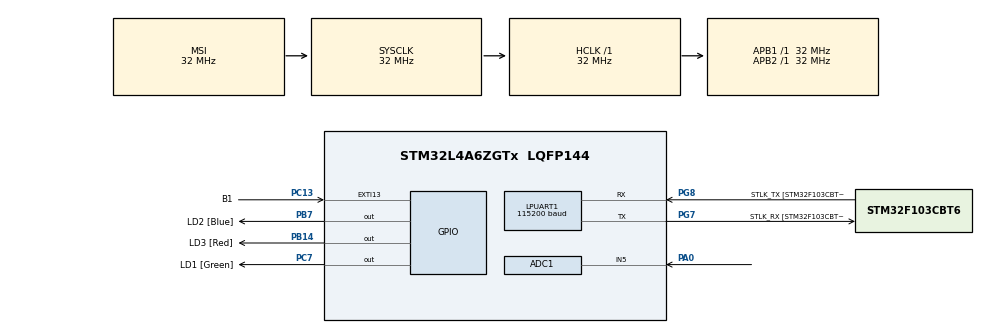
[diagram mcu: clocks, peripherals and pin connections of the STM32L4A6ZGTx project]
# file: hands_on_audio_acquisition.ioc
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ADC1.Channel-0\#ChannelRegularConversion=ADC_CHANNEL_5
ADC1.DMAContinuousRequests=ENABLE
ADC1.ExternalTrigConv=ADC_EXTERNALTRIG_T3_TRGO
ADC1.NbrOfConversion=1
ADC1.NbrOfConversionFlag=1
ADC1.OffsetNumber-0\#ChannelRegularConversion=ADC_OFFSET_NONE
ADC1.Rank-0\#ChannelRegularConversion=1
ADC1.SamplingTime-0\#ChannelRegularConversion=ADC_SAMPLETIME_2CYCLES_5
ADC1.master=1
Dma.ADC1.0.Direction=DMA_PERIPH_TO_MEMORY
Dma.ADC1.0.Instance=DMA1_Channel1
Dma.ADC1.0.MemDataAlignment=DMA_MDATAALIGN_HALFWORD
Dma.ADC1.0.MemInc=DMA_MINC_ENABLE
Dma.ADC1.0.Mode=DMA_CIRCULAR
Dma.ADC1.0.PeriphDataAlignment=DMA_PDATAALIGN_HALFWORD
Dma.ADC1.0.PeriphInc=DMA_PINC_DISABLE
Dma.ADC1.0.Priority=DMA_PRIORITY_LOW
Dma.Request0=ADC1
LPUART1.AutoBaudRateEnableParam=UART_ADVFEATURE_AUTOBAUDRATE_DISABLE
LPUART1.BaudRate=115200
LPUART1.DMADisableonRxErrorParam=UART_ADVFEATURE_DMA_ENABLEONRXERROR
LPUART1.DataInvertParam=UART_ADVFEATURE_DATAINV_DISABLE
LPUART1.MSBFirstParam=UART_ADVFEATURE_MSBFIRST_DISABLE
LPUART1.Mode=UART_MODE_TX_RX
LPUART1.OneBitSampling=UART_ONE_BIT_SAMPLE_DISABLE
LPUART1.OverrunDisableParam=UART_ADVFEATURE_OVERRUN_ENABLE
LPUART1.Parity=UART_PARITY_NONE
LPUART1.RxPinLevelInvertParam=UART_ADVFEATURE_RXINV_DISABLE
LPUART1.StopBits=UART_STOPBITS_1
LPUART1.SwapParam=UART_ADVFEATURE_SWAP_DISABLE
LPUART1.TxPinLevelInvertParam=UART_ADVFEATURE_TXINV_DISABLE
LPUART1.WordLength=UART_WORDLENGTH_8B
Mcu.Family=STM32L4
Mcu.Name=STM32L4A6ZGTx
Mcu.Package=LQFP144
NVIC.DMA1_Channel1_IRQn=true\:0\:0\:false\:false\:true\:false\:true\:true
NVIC.EXTI15_10_IRQn=true\:0\:0\:false\:false\:true\:true\:true\:true
NVIC.PriorityGroup=NVIC_PRIORITYGROUP_4
PA0.Signal=ADCx_IN5
PA13\ (JTMS/SWDIO).GPIO_Label=TMS
PA13\ (JTMS/SWDIO).Mode=Trace_Asynchronous_SW
PA13\ (JTMS/SWDIO).Signal=SYS_JTMS-SWDIO
PA14\ (JTCK/SWCLK).GPIO_Label=TCK
PA14\ (JTCK/SWCLK).Mode=Trace_Asynchronous_SW
PA14\ (JTCK/SWCLK).Signal=SYS_JTCK-SWCLK
PB14.GPIO_Label=LD3 [Red]
PB14.Signal=GPIO_Output
PB3\ (JTDO/TRACESWO).GPIO_Label=SWO
PB3\ (JTDO/TRACESWO).Mode=Trace_Asynchronous_SW
PB3\ (JTDO/TRACESWO).Signal=SYS_JTDO-SWO
PB7.GPIO_Label=LD2 [Blue]
PB7.Signal=GPIO_Output
PC13.GPIO_Label=B1
PC13.Signal=GPXTI13
PC14-OSC32_IN\ (PC14).Mode=LSE-External-Oscillator
PC14-OSC32_IN\ (PC14).Signal=RCC_OSC32_IN
PC15-OSC32_OUT\ (PC15).Mode=LSE-External-Oscillator
PC15-OSC32_OUT\ (PC15).Signal=RCC_OSC32_OUT
PC7.GPIO_Label=LD1 [Green]
PC7.Signal=GPIO_Output
PG7.GPIO_Label=STLK_RX [STM32F103CBT6_PA3]
PG7.Mode=Asynchronous
PG7.Signal=LPUART1_TX
PG8.GPIO_Label=STLK_TX [STM32F103CBT6_PA2]
PG8.Mode=Asynchronous
PG8.Signal=LPUART1_RX
PH1-OSC_OUT\ (PH1).Signal=RCC_OSC_OUT
ProjectManager.HeapSize=0x200
ProjectManager.StackSize=0x400
ProjectManager.TargetToolchain=STM32CubeIDE
RCC.ADCCLockSelection=RCC_ADCCLKSOURCE_SYSCLK
RCC.ADCFreq_Value=32000000
RCC.AHBFreq_Value=32000000
RCC.APB1Freq_Value=32000000
RCC.APB1TimFreq_Value=32000000
RCC.APB2Freq_Value=32000000
RCC.APB2TimFreq_Value=32000000
RCC.CortexFreq_Value=32000000
RCC.FLatency=FLASH_LATENCY_1
RCC.HCLKFreq_Value=32000000
RCC.HSE_VALUE=8000000
RCC.HSI48_VALUE=48000000
RCC.HSI_VALUE=16000000
RCC.MSIClockRange=RCC_MSIRANGE_10
RCC.MSI_VALUE=32000000
RCC.PLLN=71
RCC.PLLR=RCC_PLLR_DIV6
RCC.PLLSAI1N=24
RCC.SYSCLKFreq_VALUE=32000000
RCC.USBFreq_Value=384000000
RCC.VCOOutputFreq_Value=2272000000
SH.ADCx_IN5.0=ADC1_IN5,IN5-Single-Ended
TIM3.Period=195
TIM3.Prescaler=15
TIM3.TIM_MasterOutputTrigger=TIM_TRGO_UPDATE
VP_TIM3_VS_ClockSourceINT.Mode=Internal
board=NUCLEO-L4A6ZG

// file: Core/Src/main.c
/* USER CODE BEGIN Header */
/**
  ******************************************************************************
  * @file           : main.c
  * @brief          : Main program body
  ******************************************************************************
  * @attention
  *
  * <h2><center>&copy; Copyright (c) 2021 STMicroelectronics.
  * All rights reserved.</center></h2>
  *
  * This software component is licensed by ST under BSD 3-Clause license,
  * the "License"; You may not use this file except in compliance with the
  * License. You may obtain a copy of the License at:
  *                        opensource.org/licenses/BSD-3-Clause
  *
  ******************************************************************************
  */
/* USER CODE END Header */
#include "main.h"
#include "adc.h"
#include "dma.h"
#include "usart.h"
#include "tim.h"
#include "gpio.h"

/* USER CODE BEGIN Includes */
#include <stdio.h>
#include "retarget.h"
/* USER CODE END Includes */

/* USER CODE BEGIN PD */
#define ADC_BUF_SIZE 30000
/* USER CODE END PD */

/* USER CODE BEGIN PV */
volatile int state;
volatile uint16_t ADCBuffer[2*ADC_BUF_SIZE]; /* ADC group regular conversion data (array of data) */
volatile uint16_t* ADCData1;
volatile uint16_t* ADCData2;

char hex_encoded_buffer[4*ADC_BUF_SIZE+1];
/* USER CODE END PV */

void SystemClock_Config(void);
/* USER CODE BEGIN PFP */
void hex_encode(char* s, const uint8_t* buf, size_t len);
void print_buffer(volatile uint16_t *buffer);
uint32_t get_signal_power(volatile uint16_t *buffer, size_t len);
/* USER CODE END PFP */

/* USER CODE BEGIN 0 */
void HAL_GPIO_EXTI_Callback(uint16_t GPIO_Pin) {
	if (GPIO_Pin == B1_Pin)
	{
		state=0;
		HAL_TIM_Base_Start(&htim3);
		HAL_ADC_Start_DMA(&hadc1, (uint32_t *)ADCBuffer, 2*ADC_BUF_SIZE);
	}
}
void HAL_ADC_ConvHalfCpltCallback(ADC_HandleTypeDef *hadc)
{
	if(state) //Stop
	{
		printf("I have to stop !\n");
		HAL_TIM_Base_Stop(&htim3);
		HAL_ADC_Stop_DMA(&hadc1);
		return;
	}

	if(get_signal_power( ADCData1, ADC_BUF_SIZE)<50)
	{
		state=1;
	}
	print_buffer(ADCData1);
}

void HAL_ADC_ConvCpltCallback(ADC_HandleTypeDef *hadc)
{
	if(state) //Stop
	{
		printf("I have to stop !\n");
		HAL_TIM_Base_Stop(&htim3);
		HAL_ADC_Stop_DMA(&hadc1);
		return;
	}

	if(get_signal_power(ADCData2, ADC_BUF_SIZE)<50)
	{
		state=1;
	}
	print_buffer(ADCData2);
}

void hex_encode(char* s, const uint8_t* buf, size_t len) {
    s[2*len] = '\0'; // A string terminated by a zero char.
    for (size_t i=0; i<len; i++) {
        s[i*2] = "0123456789abcdef"[buf[i] >> 4];
        s[i*2+1] = "0123456789abcdef"[buf[i] & 0xF];
    }
}

void print_buffer(volatile uint16_t *buffer) {
	hex_encode(hex_encoded_buffer, (uint8_t*)buffer, 2*ADC_BUF_SIZE);
	printf("SND:HEX:%s\r\n", hex_encoded_buffer);
}

uint32_t get_signal_power(volatile uint16_t *buffer, size_t len){
	uint64_t sum = 0;
	uint64_t sum2 = 0;
	for (size_t i=0; i<len; i++) {
		sum += (uint64_t) buffer[i];
		sum2 += (uint64_t) buffer[i]*(uint64_t) buffer[i];
	}
	return (uint32_t)(sum2/len - sum*sum/len/len);
}
/* USER CODE END 0 */

int main(void)
{

  /* MCU Configuration--------------------------------------------------------*/

  /* Reset of all peripherals, Initializes the Flash interface and the Systick. */
  HAL_Init();

  /* Configure the system clock */
  SystemClock_Config();

  /* Initialize all configured peripherals */
  MX_GPIO_Init();
  MX_DMA_Init();
  MX_LPUART1_UART_Init();
  MX_ADC1_Init();
  MX_TIM3_Init();
  /* USER CODE BEGIN 2 */
  RetargetInit(&hlpuart1);
  printf("Hello world!\r\n");
  state=0;
  ADCData1 = &ADCBuffer[0];
  ADCData2 = &ADCBuffer[ADC_BUF_SIZE];

  /* USER CODE END 2 */

  /* Infinite loop */
  /* USER CODE BEGIN WHILE */
  while (1)
  {
	  __WFI();
	HAL_GPIO_WritePin(LD2_GPIO_Port, LD2_Pin, GPIO_PIN_SET);
	HAL_Delay(500);
	HAL_GPIO_WritePin(LD2_GPIO_Port, LD2_Pin, GPIO_PIN_RESET);
	HAL_Delay(500);
    /* USER CODE END WHILE */

  }
}

void SystemClock_Config(void)
{
  RCC_OscInitTypeDef RCC_OscInitStruct = {0};
  RCC_ClkInitTypeDef RCC_ClkInitStruct = {0};

  /** Configure the main internal regulator output voltage
  */
  if (HAL_PWREx_ControlVoltageScaling(PWR_REGULATOR_VOLTAGE_SCALE1) != HAL_OK)
  {
    Error_Handler();
  }

  /** Initializes the RCC Oscillators according to the specified parameters
  * in the RCC_OscInitTypeDef structure.
  */
  RCC_OscInitStruct.OscillatorType = RCC_OSCILLATORTYPE_MSI;
  RCC_OscInitStruct.MSIState = RCC_MSI_ON;
  RCC_OscInitStruct.MSICalibrationValue = 0;
  RCC_OscInitStruct.MSIClockRange = RCC_MSIRANGE_10;
  RCC_OscInitStruct.PLL.PLLState = RCC_PLL_NONE;
  if (HAL_RCC_OscConfig(&RCC_OscInitStruct) != HAL_OK)
  {
    Error_Handler();
  }

  /** Initializes the CPU, AHB and APB buses clocks
  */
  RCC_ClkInitStruct.ClockType = RCC_CLOCKTYPE_HCLK|RCC_CLOCKTYPE_SYSCLK
                              |RCC_CLOCKTYPE_PCLK1|RCC_CLOCKTYPE_PCLK2;
  RCC_ClkInitStruct.SYSCLKSource = RCC_SYSCLKSOURCE_MSI;
  RCC_ClkInitStruct.AHBCLKDivider = RCC_SYSCLK_DIV1;
  RCC_ClkInitStruct.APB1CLKDivider = RCC_HCLK_DIV1;
  RCC_ClkInitStruct.APB2CLKDivider = RCC_HCLK_DIV1;

  if (HAL_RCC_ClockConfig(&RCC_ClkInitStruct, FLASH_LATENCY_1) != HAL_OK)
  {
    Error_Handler();
  }
}

void Error_Handler(void)
{
  __disable_irq();
  while (1)
  {
  }
}
